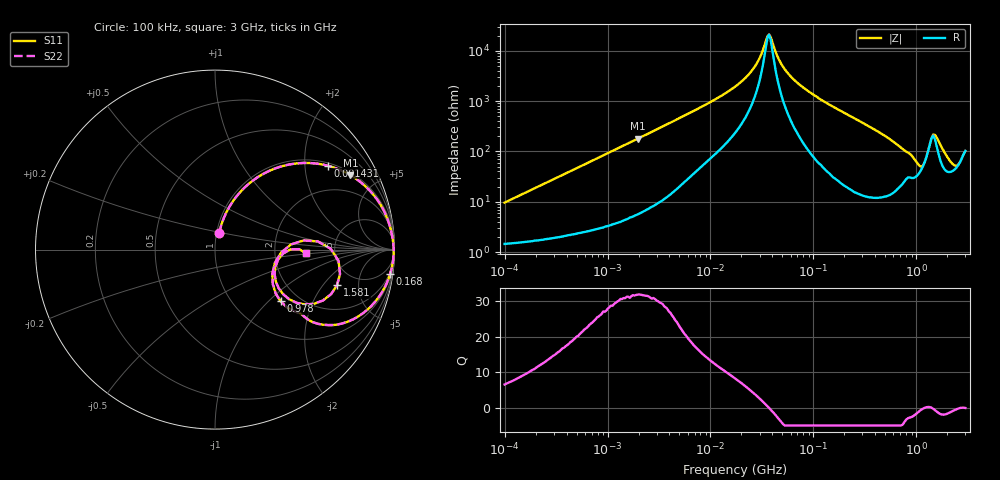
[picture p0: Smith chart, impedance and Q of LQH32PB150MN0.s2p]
!Murata Part Number: LQH32PB150_N0
!These Parameters are Measured in Series Mode Connection
! o--[L]--o
!Port1 Port2
! o-------o
# Hz S RI R 50
!Freq.(Hz) S11(Real) S11(Imag) S21(Real) S21(Imag) S12(Real) S12(Imag) S22(Real) S22(Imag)
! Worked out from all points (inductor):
!   284 points, 100 kHz to 3 GHz, reference 50 ohm
!   read as one part in series: L = 15.1 uH near 103.6 kHz
!   highest Q = 31.8 at 1.962 MHz (marker M1), where L = 14.5 uH
!   self-resonance near 35.87 MHz
!   S11 on the Smith chart (normalised r, x): 100 kHz: 1.03, +0.19; 1.431 MHz: 1.08, +2.61; 168 MHz: 2, -14; 978 MHz: 1.62, -1.18; 1.581 GHz: 3.51, -2.80; 3 GHz: 3.05, -0.16
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100000  0.0229 0.0916  0.9771 -0.0916  0.9771 -0.0916  0.0229 0.0916
575901  0.2312 0.3991  0.7688 -0.3991  0.7688 -0.3991  0.2312 0.3991
1431295  0.6268 0.4677  0.3732 -0.4677  0.3732 -0.4677  0.6268 0.4677
1961516  0.7548 0.4148  0.2452 -0.4148  0.2452 -0.4148  0.7548 0.4148
3202502  0.8871 0.3001  0.1129 -0.3001  0.1129 -0.3001  0.8871 0.3001
1.780863e7  0.9916 0.0484  0.00845 -0.0484  0.00845 -0.0484  0.9916 0.0484
2.710904e7  0.9945 0.0194  0.00555 -0.0194  0.00555 -0.0194  0.9945 0.0194
3.715154e7  0.9953 -0.000356  0.0047 0.000356  0.0047 0.000356  0.9953 -0.000356
5.272863e7  0.9951 -0.0226  0.00487 0.0226  0.00487 0.0226  0.9951 -0.0226
9.903114e7  0.9905 -0.0721  0.00953 0.0721  0.00953 0.0721  0.9905 -0.0721
1.680187e8  0.9755 -0.1365  0.0245 0.1365  0.0245 0.1365  0.9755 -0.1365
3.453811e8  0.9006 -0.2805  0.0994 0.2805  0.0994 0.2805  0.9006 -0.2805
5.583748e8  0.7339 -0.4039  0.2661 0.4039  0.2661 0.4039  0.7339 -0.4039
9.779672e8  0.3651 -0.2872  0.6349 0.2872  0.6349 0.2872  0.3651 -0.2872
1.147801e9  0.3335 -0.0745  0.6665 0.0745  0.6665 0.0745  0.3335 -0.0745
1.294266e9  0.496 0.0513  0.504 -0.0513  0.504 -0.0513  0.496 0.0513
1.45942e9  0.6884 -0.0627  0.3116 0.0627  0.3116 0.0627  0.6884 -0.0627
1.581072e9  0.6797 -0.1986  0.3203 0.1986  0.3203 0.1986  0.6797 -0.1986
1.855641e9  0.5012 -0.3056  0.4988 0.3056  0.4988 0.3056  0.5012 -0.3056
2.266846e9  0.3382 -0.1758  0.6618 0.1758  0.6618 0.1758  0.3382 -0.1758
2.556106e9  0.3523 -0.0544  0.6477 0.0544  0.6477 0.0544  0.3523 -0.0544
3e9  0.5066 -0.02  0.4934 0.02  0.4934 0.02  0.5066 -0.02
